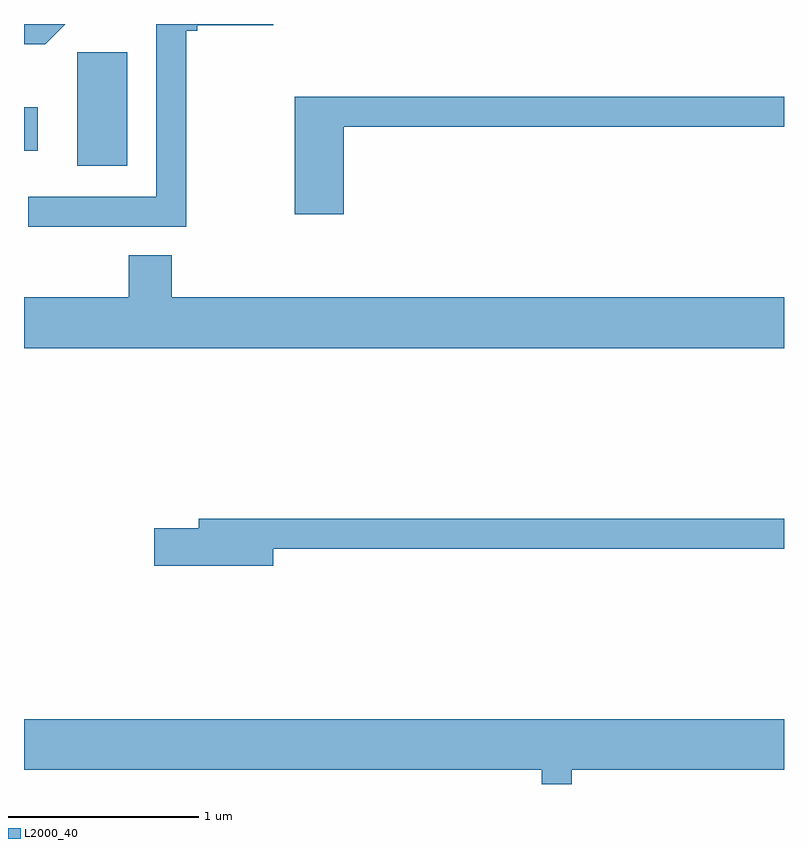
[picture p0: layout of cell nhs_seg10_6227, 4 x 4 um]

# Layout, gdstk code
import gdstk
lib = gdstk.Library(unit=1e-6, precision=1e-09)
def R(c, l, rs):  # rectangles x0, y0, x1, y1
    for r in rs: c.add(gdstk.rectangle(r[:2], r[2:], *l))
def P(c, l, *ps):  # polygons
    for p in ps: c.add(gdstk.Polygon(p, *l))
L2000_40 = (2000, 40)

nhs_seg10_6227 = lib.new_cell('nhs_seg10_6227')
R(nhs_seg10_6227, L2000_40, [(369.891,2103.776,370.154,2104.374), (369.611,2103.856,369.684,2104.084)])
P(nhs_seg10_6227, L2000_40, [(369.828,2104.522),(369.611,2104.522),(369.611,2104.416),(369.722,2104.416)],
  [(370.464,2104.486),(370.524,2104.486),(370.524,2104.516),(370.924,2104.516),(370.924,2104.522),(370.296,2104.522),(370.296,2104.52),(370.306,2104.52),(370.306,2103.614),(369.633,2103.614),(369.633,2103.456),(370.464,2103.456)],
  [(371.294,2103.981),(373.611,2103.981),(373.611,2104.139),(371.036,2104.139),(371.036,2103.521),(371.294,2103.521)],
  [(373.611,2103.084),(370.389,2103.084),(370.389,2103.304),(370.161,2103.304),(370.161,2103.084),(369.611,2103.084),(369.611,2102.816),(373.611,2102.816)],
  [(370.924,2101.761),(373.611,2101.761),(373.611,2101.919),(370.531,2101.919),(370.531,2101.869),(370.296,2101.869),(370.296,2101.671),(370.924,2101.671)],
  [(372.494,2100.596),(373.611,2100.596),(373.611,2100.864),(369.611,2100.864),(369.611,2100.596),(372.336,2100.596),(372.336,2100.522),(372.494,2100.522)])

lib.write_gds('nhs_seg10_6227.gds')
